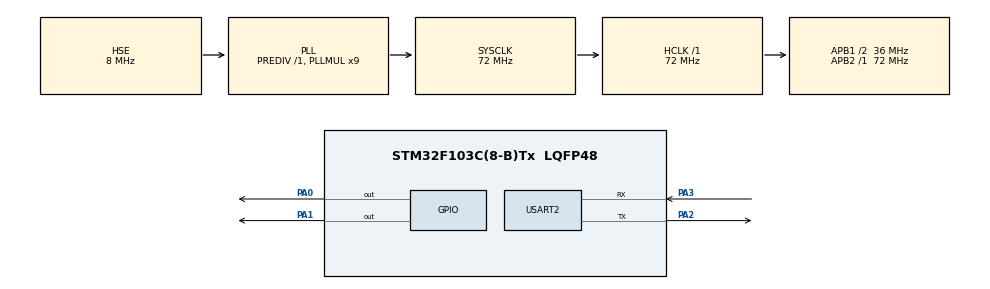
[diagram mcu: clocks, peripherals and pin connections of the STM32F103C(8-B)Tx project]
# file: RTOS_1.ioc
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FREERTOS.Tasks01=defaultTask,24,128,StartDefaultTask,Default,NULL,Dynamic,NULL,NULL;Task2,24,128,Task2_init,Default,NULL,Dynamic,NULL,NULL
Mcu.Family=STM32F1
Mcu.Name=STM32F103C(8-B)Tx
Mcu.Package=LQFP48
NVIC.PriorityGroup=NVIC_PRIORITYGROUP_4
NVIC.TIM1_UP_IRQn=true\:15\:0\:false\:false\:true\:false\:false\:true\:true
NVIC.TimeBase=TIM1_UP_IRQn
NVIC.TimeBaseIP=TIM1
PA0-WKUP.Signal=GPIO_Output
PA1.Signal=GPIO_Output
PA2.Mode=Asynchronous
PA2.Signal=USART2_TX
PA3.Mode=Asynchronous
PA3.Signal=USART2_RX
PD0-OSC_IN.Mode=HSE-External-Oscillator
PD0-OSC_IN.Signal=RCC_OSC_IN
PD1-OSC_OUT.Mode=HSE-External-Oscillator
PD1-OSC_OUT.Signal=RCC_OSC_OUT
ProjectManager.HeapSize=0x200
ProjectManager.StackSize=0x400
ProjectManager.TargetToolchain=Makefile
RCC.AHBFreq_Value=72000000
RCC.APB1CLKDivider=RCC_HCLK_DIV2
RCC.APB1Freq_Value=36000000
RCC.APB1TimFreq_Value=72000000
RCC.APB2Freq_Value=72000000
RCC.APB2TimFreq_Value=72000000
RCC.HCLKFreq_Value=72000000
RCC.PLLMUL=RCC_PLL_MUL9
RCC.PLLSourceVirtual=RCC_PLLSOURCE_HSE
RCC.SYSCLKFreq_VALUE=72000000
RCC.SYSCLKSource=RCC_SYSCLKSOURCE_PLLCLK
RCC.USBFreq_Value=72000000
USART2.VirtualMode=VM_ASYNC
VP_FREERTOS_VS_CMSIS_V2.Mode=CMSIS_V2
VP_SYS_VS_ND.Mode=No_Debug
VP_SYS_VS_tim1.Mode=TIM1
board=custom

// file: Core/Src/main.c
/* USER CODE BEGIN Header */
/**
  ******************************************************************************
  * @file           : main.c
  * @brief          : Main program body
  ******************************************************************************
  * @attention
  *
  * Copyright (c) 2024 STMicroelectronics.
  * All rights reserved.
  *
  * This software is licensed under terms that can be found in the LICENSE file
  * in the root directory of this software component.
  * If no LICENSE file comes with this software, it is provided AS-IS.
  *
  ******************************************************************************
  */
/* USER CODE END Header */
#include "main.h"
#include "cmsis_os.h"
#include "usart.h"
#include "gpio.h"

void SystemClock_Config(void);
void MX_FREERTOS_Init(void);

int main(void)
{

  /* MCU Configuration--------------------------------------------------------*/

  /* Reset of all peripherals, Initializes the Flash interface and the Systick. */
  HAL_Init();

  /* Configure the system clock */
  SystemClock_Config();

  /* Initialize all configured peripherals */
  MX_GPIO_Init();
  MX_USART2_UART_Init();

  /* Init scheduler */
  osKernelInitialize();

  /* Call init function for freertos objects (in cmsis_os2.c) */
  MX_FREERTOS_Init();

  /* Start scheduler */
  osKernelStart();

  /* We should never get here as control is now taken by the scheduler */

  /* Infinite loop */
  while (1)
  {

  }
}

void SystemClock_Config(void)
{
  RCC_OscInitTypeDef RCC_OscInitStruct = {0};
  RCC_ClkInitTypeDef RCC_ClkInitStruct = {0};

  /** Initializes the RCC Oscillators according to the specified parameters
  * in the RCC_OscInitTypeDef structure.
  */
  RCC_OscInitStruct.OscillatorType = RCC_OSCILLATORTYPE_HSE;
  RCC_OscInitStruct.HSEState = RCC_HSE_ON;
  RCC_OscInitStruct.HSEPredivValue = RCC_HSE_PREDIV_DIV1;
  RCC_OscInitStruct.HSIState = RCC_HSI_ON;
  RCC_OscInitStruct.PLL.PLLState = RCC_PLL_ON;
  RCC_OscInitStruct.PLL.PLLSource = RCC_PLLSOURCE_HSE;
  RCC_OscInitStruct.PLL.PLLMUL = RCC_PLL_MUL9;
  if (HAL_RCC_OscConfig(&RCC_OscInitStruct) != HAL_OK)
  {
    Error_Handler();
  }

  /** Initializes the CPU, AHB and APB buses clocks
  */
  RCC_ClkInitStruct.ClockType = RCC_CLOCKTYPE_HCLK|RCC_CLOCKTYPE_SYSCLK
                              |RCC_CLOCKTYPE_PCLK1|RCC_CLOCKTYPE_PCLK2;
  RCC_ClkInitStruct.SYSCLKSource = RCC_SYSCLKSOURCE_PLLCLK;
  RCC_ClkInitStruct.AHBCLKDivider = RCC_SYSCLK_DIV1;
  RCC_ClkInitStruct.APB1CLKDivider = RCC_HCLK_DIV2;
  RCC_ClkInitStruct.APB2CLKDivider = RCC_HCLK_DIV1;

  if (HAL_RCC_ClockConfig(&RCC_ClkInitStruct, FLASH_LATENCY_2) != HAL_OK)
  {
    Error_Handler();
  }
}

void HAL_TIM_PeriodElapsedCallback(TIM_HandleTypeDef *htim)
{
  if (htim->Instance == TIM1) {
    HAL_IncTick();
  }
}

void Error_Handler(void)
{
  __disable_irq();
  while (1)
  {
  }
}

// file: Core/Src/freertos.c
/* USER CODE BEGIN Header */
/**
  ******************************************************************************
  * File Name          : freertos.c
  * Description        : Code for freertos applications
  ******************************************************************************
  * @attention
  *
  * Copyright (c) 2024 STMicroelectronics.
  * All rights reserved.
  *
  * This software is licensed under terms that can be found in the LICENSE file
  * in the root directory of this software component.
  * If no LICENSE file comes with this software, it is provided AS-IS.
  *
  ******************************************************************************
  */
/* USER CODE END Header */

#include "FreeRTOS.h"
#include "task.h"
#include "main.h"
#include "cmsis_os.h"

/* USER CODE BEGIN Includes */
#include "usart.h"
/* USER CODE END Includes */

/* USER CODE BEGIN Variables */
osThreadId_t Task3Handle;
const osThreadAttr_t Task3_attributes = {
  .name = "Task3",
  .stack_size = 128 * 4,
  .priority = (osPriority_t) osPriorityBelowNormal,
};
/* USER CODE END Variables */
/* Definitions for defaultTask */
osThreadId_t defaultTaskHandle;
const osThreadAttr_t defaultTask_attributes = {
  .name = "defaultTask",
  .stack_size = 128 * 4,
  .priority = (osPriority_t) osPriorityNormal,
};
/* Definitions for Task2 */
osThreadId_t Task2Handle;
const osThreadAttr_t Task2_attributes = {
  .name = "Task2",
  .stack_size = 128 * 4,
  .priority = (osPriority_t) osPriorityAboveNormal,
};

/* USER CODE BEGIN FunctionPrototypes */
void Task3_init(void *argument);
void send_from_default_task();
void send_from_task_2();
void send_from_task_3();
/* USER CODE END FunctionPrototypes */

void StartDefaultTask(void *argument);
void Task2_init(void *argument);

void MX_FREERTOS_Init(void); /* (MISRA C 2004 rule 8.1) */

void MX_FREERTOS_Init(void) {

  /* Create the thread(s) */
  /* creation of defaultTask */
  defaultTaskHandle = osThreadNew(StartDefaultTask, NULL, &defaultTask_attributes);

  /* creation of Task2 */
  Task2Handle = osThreadNew(Task2_init, NULL, &Task2_attributes);

  /* USER CODE BEGIN RTOS_THREADS */
  /* add threads, ... */
  Task3Handle = osThreadNew(Task3_init, NULL, &Task3_attributes);
  /* USER CODE END RTOS_THREADS */

}

void StartDefaultTask(void *argument)
{
  /* USER CODE BEGIN StartDefaultTask */
  /* Infinite loop */
  for(;;)
  {
    // HAL_GPIO_TogglePin(GPIOA, GPIO_PIN_0);
    send_from_default_task();
    osDelay(1000);
  }
  /* USER CODE END StartDefaultTask */
}

void Task2_init(void *argument)
{
  /* USER CODE BEGIN Task2_init */
  /* Infinite loop */
  for(;;)
  {
    // HAL_GPIO_TogglePin(GPIOA, GPIO_PIN_1);
    send_from_task_2();
    osDelay(1000);
  }
  /* USER CODE END Task2_init */
}

/* USER CODE BEGIN Application */
void Task3_init(void *argument)
{
  while (1)
  {
    send_from_task_3();
    osDelay(1000);
  }
}

void send_from_default_task()
{
  uint8_t data[] = "Hello from default task\n";
  HAL_UART_Transmit(&huart2, data, sizeof(data), 500);
}

void send_from_task_2()
{
  uint8_t data[] = "Hello from task 2\n";
  HAL_UART_Transmit(&huart2, data, sizeof(data), 500);
}

void send_from_task_3()
{
  uint8_t data[] = "Hello from task 3\n";
  HAL_UART_Transmit(&huart2, data, sizeof(data), 500);
}
/* USER CODE END Application */
